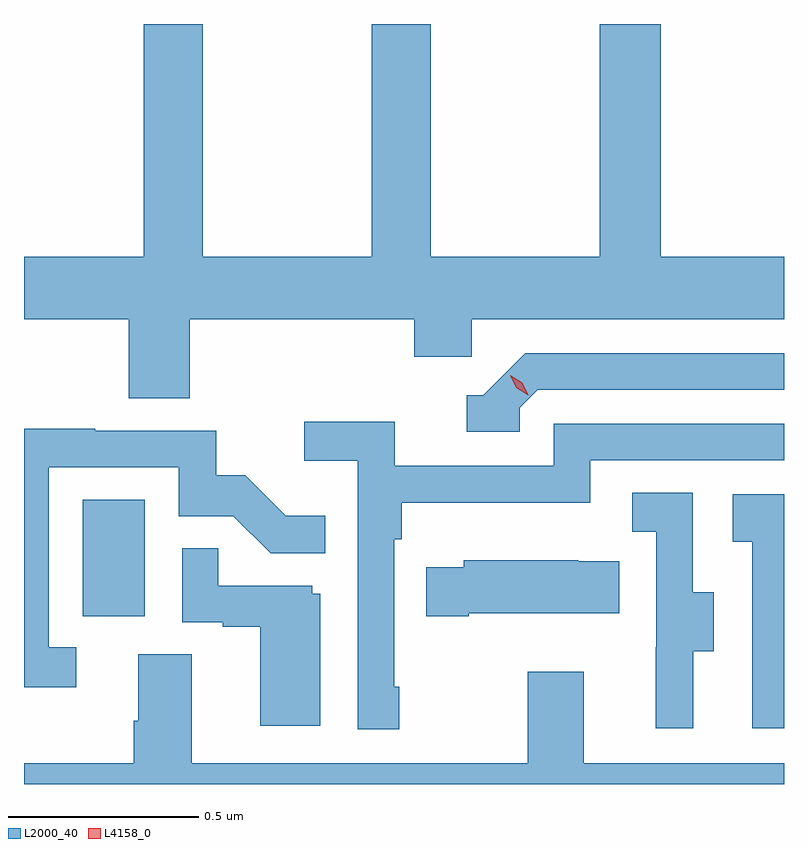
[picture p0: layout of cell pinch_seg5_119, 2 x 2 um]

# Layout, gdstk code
import gdstk
lib = gdstk.Library(unit=1e-6, precision=1e-09)
def R(c, l, rs):  # rectangles x0, y0, x1, y1
    for r in rs: c.add(gdstk.rectangle(r[:2], r[2:], *l))
def P(c, l, *ps):  # polygons
    for p in ps: c.add(gdstk.Polygon(p, *l))
L2000_40 = (2000, 40)
L4158_0 = (4158, 0)

pinch_seg5_119 = lib.new_cell('pinch_seg5_119')
R(pinch_seg5_119, L2000_40, [(1040.666,878.622,1040.83,878.929)])
P(pinch_seg5_119, L2000_40, [(1042.512,879.568),(1042.187,879.568),(1042.187,880.181),(1042.027,880.181),(1042.027,879.568),(1041.582,879.568),(1041.582,880.181),(1041.427,880.181),(1041.427,879.568),(1040.982,879.568),(1040.982,880.181),(1040.827,880.181),(1040.827,879.568),(1040.512,879.568),(1040.512,879.404),(1040.788,879.404),(1040.788,879.196),(1040.948,879.196),(1040.948,879.404),(1041.539,879.404),(1041.539,879.306),(1041.69,879.306),(1041.69,879.404),(1042.512,879.404)],
  [(1041.816,879.171),(1041.864,879.219),(1042.512,879.219),(1042.512,879.315),(1041.831,879.315),(1041.72,879.204),(1041.677,879.204),(1041.677,879.108),(1041.816,879.108)],
  [(1041.499,878.437),(1041.486,878.437),(1041.486,878.825),(1041.506,878.825),(1041.506,878.921),(1042.002,878.921),(1042.002,879.033),(1042.512,879.033),(1042.512,879.129),(1041.906,879.129),(1041.906,879.018),(1041.488,879.018),(1041.488,879.134),(1041.249,879.134),(1041.249,879.032),(1041.39,879.032),(1041.39,878.325),(1041.499,878.325)],
  [(1040.65,878.541),(1040.577,878.541),(1040.577,879.015),(1040.919,879.015),(1040.919,878.886),(1041.063,878.886),(1041.161,878.788),(1041.305,878.788),(1041.305,878.887),(1041.201,878.887),(1041.094,878.994),(1041.018,878.994),(1041.018,879.111),(1040.699,879.111),(1040.699,879.116),(1040.512,879.116),(1040.512,878.436),(1040.65,878.436)],
  [(1042.273,878.53),(1042.327,878.53),(1042.327,878.685),(1042.272,878.685),(1042.272,878.948),(1042.113,878.948),(1042.113,878.845),(1042.176,878.845),(1042.176,878.541),(1042.175,878.541),(1042.175,878.328),(1042.273,878.328)],
  [(1042.512,878.943),(1042.377,878.943),(1042.377,878.819),(1042.428,878.819),(1042.428,878.328),(1042.512,878.328)],
  [(1041.292,878.682),(1041.27,878.682),(1041.27,878.703),(1041.023,878.703),(1041.023,878.801),(1040.928,878.801),(1040.928,878.607),(1041.035,878.607),(1041.035,878.595),(1041.134,878.595),(1041.134,878.334),(1041.292,878.334)],
  [(1041.682,878.63),(1042.079,878.63),(1042.079,878.767),(1041.971,878.767),(1041.971,878.77),(1041.669,878.77),(1041.669,878.752),(1041.571,878.752),(1041.571,878.623),(1041.682,878.623)],
  [(1042.512,878.236),(1041.985,878.236),(1041.985,878.476),(1041.838,878.476),(1041.838,878.236),(1040.953,878.236),(1040.953,878.522),(1040.813,878.522),(1040.813,878.348),(1040.801,878.348),(1040.801,878.236),(1040.512,878.236),(1040.512,878.181),(1042.512,878.181)])
P(pinch_seg5_119, L4158_0, [(1041.839,879.204),(1041.808,879.224),(1041.792,879.256),(1041.792,879.257),(1041.792,879.257),(1041.823,879.237),(1041.839,879.204),(1041.839,879.204)])

lib.write_gds('pinch_seg5_119.gds')
